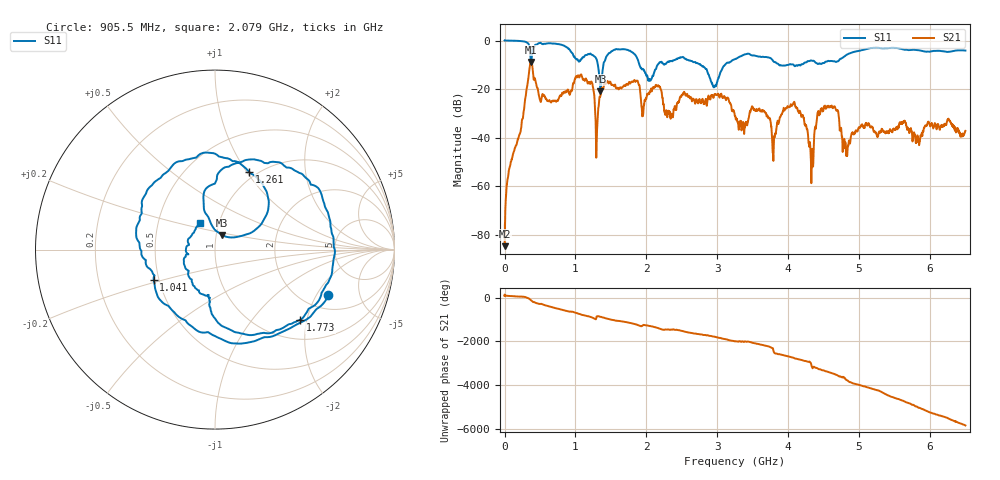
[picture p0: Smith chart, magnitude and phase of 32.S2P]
!Keysight Technologies,E5063A,MY54503115,A.05.08
!Date: Mon Dec 11 14:03:23 2023
!Data & Calibration Information:
!Freq	S11:NONE(--)	S21:NONE(--)	S12:NONE(--)	S22:NONE(--)
# Hz S dB R 50
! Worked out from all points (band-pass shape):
!   10001 points, 100 kHz to 6.5 GHz, reference 50 ohm
!   highest |S21| = -8.83 dB at 375.1 MHz (marker M1); lowest = -84.7 dB at 750 kHz (marker M2)
!   |S21| within 3 dB of the highest: 350 MHz to 396.1 MHz (46.1 MHz wide, 12.4 % of centre)
!   lowest |S11| = -20.8 dB at 1.353 GHz (marker M3), VSWR 1.20, Z = 53.5 + j8.76 ohm
!   |S11| at or under -10 dB: 1.903 GHz to 2.158 GHz (254.7 MHz wide, 12.5 % of centre); 2.765 GHz to 3.109 GHz (343.4 MHz wide, 11.7 % of centre); 3.871 GHz to 4.007 GHz (136 MHz wide, 3.45 % of centre) (the widest 3 of 6)
!   S12 and S22 are empty: the file has one direction only
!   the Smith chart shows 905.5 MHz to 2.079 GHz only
!   S11 on the Smith chart (normalised r, x): 905.5 MHz: 2.67, -2.50; 1.041 GHz: 0.47, -0.18; 1.261 GHz: 0.92, +1.03; 1.773 GHz: 1.44, -1.82; 2.079 GHz: 0.81, +0.25
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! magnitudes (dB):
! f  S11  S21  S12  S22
! 100 kHz  0.1  -83.6  -  -
! 750 kHz  0.0  -84.7  -  -
! 375.1 MHz  -9.9  -8.8  -  -
! 505.1 MHz  -0.9  -25.0  -  -
! 905.5 MHz  -3.4  -21.4  -  -
! 1.041 GHz  -8.4  -14.4  -  -
! 1.084 GHz  -7.6  -14.1  -  -
! 1.261 GHz  -6.5  -21.6  -  -
! 1.353 GHz  -20.8  -22.9  -  -
! 1.773 GHz  -4.2  -17.7  -  -
! 2.079 GHz  -15.3  -20.7  -  -
! 2.167 GHz  -9.7  -18.6  -  -
! 2.347 GHz  -8.4  -31.4  -  -
! 2.96 GHz  -19.0  -22.2  -  -
! 3.25 GHz  -7.7  -31.1  -  -
! 3.799 GHz  -8.8  -42.0  -  -
! 4.089 GHz  -10.5  -25.6  -  -
! 4.334 GHz  -8.3  -48.4  -  -
! 4.534 GHz  -8.7  -27.8  -  -
! 4.813 GHz  -6.1  -44.6  -  -
! 5.417 GHz  -3.1  -38.0  -  -
! 6.5 GHz  -4.1  -37.2  -  -
